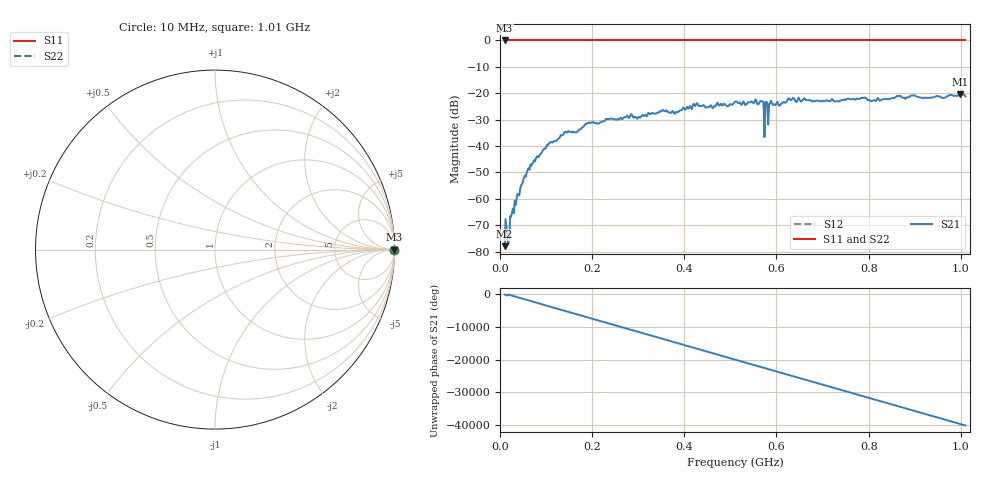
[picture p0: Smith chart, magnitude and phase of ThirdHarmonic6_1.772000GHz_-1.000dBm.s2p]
! 8/16/2025 9:24:41 PM
! C:\ANRITSUVNA\TEMP\TEMP.S2P
! CHANNEL.1
! TR.MEASUREMENT
! RAW.DATA
! RF.CORRECTION.OFF
! AVERAGING.OFF
! IF.BANDWIDTH: 5KHZ
! SWEEPTYPE:  FREQ.SWEEP(Linear)
! Reference Plane Port Info
! PORT:  PORT1  PORT2
! DISTANCE:  0  m  0  m
! TIME:  0  s  0  s
! PHASE.OFFSET:  0  deg.  0  deg.
! LOSS:  0  dB  0  dB
! REF.LOSS:  0  dB  0  dB
! REF.FREQ:  0  Hz  0  Hz
! Power Info
! POWER:  -20  dBm  -20  dBm
! EFF.POWER:  -20  dBm  -20  dBm
! SOURCE.ATTEN:  0  dB  0  dB
! TEST.ATTEN:  0  dB  0  dB
# GHZ S RI R 50.0
! FREQ.GHZ  S11RE  S11IM  S21RE  S21IM  S12RE  S12IM  S22RE  S22IM
!; PortSelection: Port_12
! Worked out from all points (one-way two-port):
!   501 points, 10 MHz to 1.01 GHz, reference 50 ohm
!   highest |S21| = -20.35 dB at 998 MHz (marker M1); lowest = -77.9 dB at 10 MHz (marker M2)
!   lowest |S11| = 0.0 dB at 10 MHz (marker M3)
!   |S11| at or under -10 dB: nowhere
!   |S22| runs from 0.0 to 0.0 dB; largest |S21 - S12| = 1.1
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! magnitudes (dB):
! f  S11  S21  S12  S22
! 10 MHz  0.0  -77.9  0.0  0.0
! 20 MHz  0.0  -74.8  0.0  0.0
! 26 MHz  0.0  -65.2  0.0  0.0
! 50 MHz  0.0  -53.3  0.0  0.0
! 70 MHz  0.0  -46.7  0.0  0.0
! 106 MHz  0.0  -39.0  0.0  0.0
! 144 MHz  0.0  -34.9  0.0  0.0
! 178 MHz  0.0  -33.0  0.0  0.0
! 234 MHz  0.0  -29.9  0.0  0.0
! 344 MHz  0.0  -27.3  0.0  0.0
! 424 MHz  0.0  -24.9  0.0  0.0
! 510 MHz  0.0  -23.2  0.0  0.0
! 568 MHz  0.0  -22.9  0.0  0.0
! 570 MHz  0.0  -23.3  0.0  0.0
! 576 MHz  0.0  -23.3  0.0  0.0
! 578 MHz  0.0  -23.3  0.0  0.0
! 580 MHz  0.0  -23.5  0.0  0.0
! 588 MHz  0.0  -22.8  0.0  0.0
! 678 MHz  0.0  -23.1  0.0  0.0
! 844 MHz  0.0  -22.3  0.0  0.0
! 998 MHz  0.0  -20.3  0.0  0.0
! 1.01 GHz  0.0  -21.2  0.0  0.0
